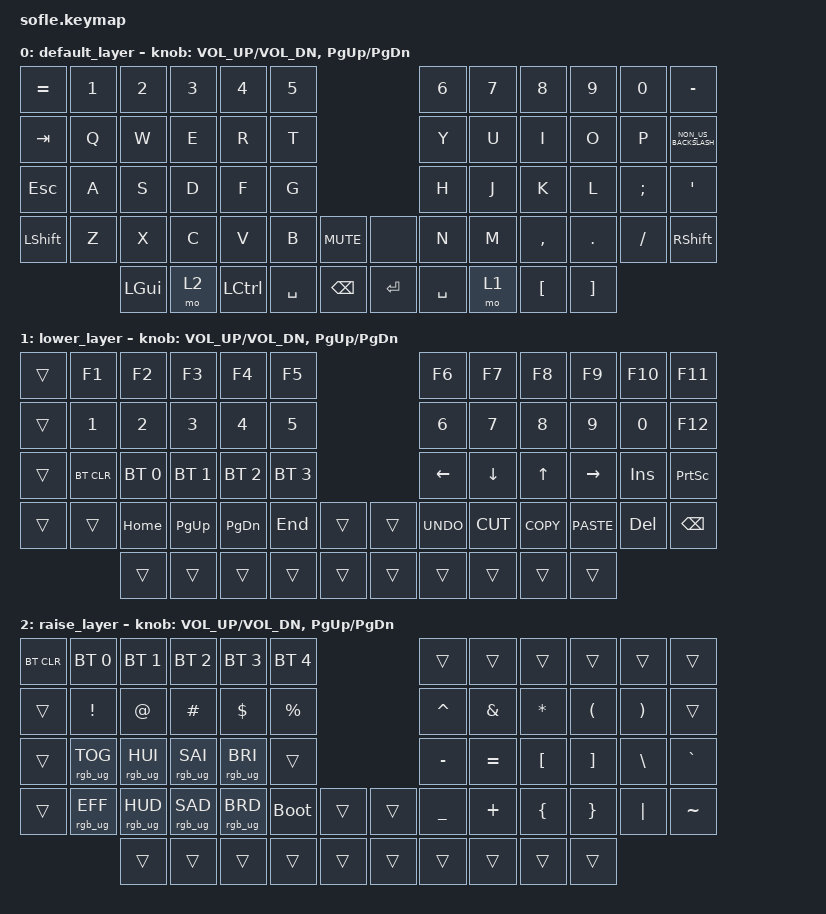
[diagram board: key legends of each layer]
/*
 * Copyright (c) 2020 The ZMK Contributors
 *
 * SPDX-License-Identifier: MIT
 */

#include <behaviors.dtsi>
#include <dt-bindings/zmk/bt.h>
#include <dt-bindings/zmk/keys.h>
#include <dt-bindings/zmk/rgb.h>

&caps_word { continue-list = <UNDERSCORE MINUS>; };

&led_strip { chain-length = <35>; };

&left_encoder { resolution = <2>; };

/ {
    keymap {
        compatible = "zmk,keymap";

        default_layer {
            // ------------------------------------------------------------------------------------------------------------
            // |  ESC  |  1  |  2  |  3   |  4   |  5   |                   |  6   |  7    |  8    |  9   |   0   | BKSPC |
            // |  TAB  |  Q  |  W  |  E   |  R   |  T   |                   |  Y   |  U    |  I    |  O   |   P   |  DEL  |
            // |  CAPS |  A  |  S  |  D   |  F   |  G   |                   |  H   |  J    |  K    |  L   |   ;   |   ' " |
            // | SHIFT |  Z  |  X  |  C   |  V   |  B   |  MUTE  |  |       |  N   |  M    |  ,<   |  .>  |   /?  | SHIFT |
            //               | GUI | ALT  | CTRL | LOWER|  ENTER |  | SPACE | RAISE| CTRL  | ALT   | GUI  |

            bindings = <
&kp EQUAL   &kp N1  &kp N2    &kp N3  &kp N4     &kp N5                                 &kp N6     &kp N7  &kp N8            &kp N9             &kp N0    &kp MINUS
&kp TAB     &kp Q   &kp W     &kp E   &kp R      &kp T                                  &kp Y      &kp U   &kp I             &kp O              &kp P     &kp NON_US_BACKSLASH
&kp ESCAPE  &kp A   &kp S     &kp D   &kp F      &kp G                                  &kp H      &kp J   &kp K             &kp L              &kp SEMI  &kp SQT
&kp LSHFT   &kp Z   &kp X     &kp C   &kp V      &kp B      &kp C_MUTE       &none      &kp N      &kp M   &kp COMMA         &kp DOT            &kp FSLH  &kp RSHFT
                    &kp LGUI  &mo 2   &kp LCTRL  &kp SPACE  &kp BACKSPACE    &kp ENTER  &kp SPACE  &mo 1   &kp LEFT_BRACKET  &kp RIGHT_BRACKET
            >;

            sensor-bindings = <&inc_dec_kp C_VOL_UP C_VOL_DN &inc_dec_kp PG_UP PG_DN>;
        };

        lower_layer {
            // TODO: Some binds are waiting for shifted keycode support.
            // ------------------------------------------------------------------------------------------------------------
            // |       |  F1 |  F2 |  F3  |  F4  |  F5  |                   |  F6  |  F7   |  F8   |   F9  |  F10  |     F11   |
            // | `     |   1 |   2 |   3  |   4  |   5  |                   |   6  |   7   |   8   |   9   |    0  |     F12   |
            // |       |BTCLR| BT1 | BT2  | BT3  | BT4  |                   | LEFT | DOWN  |  UP   | RIGHT |  INS  |PRINTSCREEN|
            // |       |     | HOME| PGUP | PGDN | END  |        |  |       | UNDO |  CUT  | COPY  | PASTE |  DEL  |    BKSP   |
            //               |     |      |      |      |        |  |       |      |       |       |       |

            bindings = <
&trans  &kp F1      &kp F2        &kp F3        &kp F4        &kp F5                          &kp F6      &kp F7     &kp F8      &kp F9       &kp F10  &kp F11
&trans  &kp N1      &kp N2        &kp N3        &kp N4        &kp N5                          &kp N6      &kp N7     &kp N8      &kp N9       &kp N0   &kp F12
&trans  &bt BT_CLR  &bt BT_SEL 0  &bt BT_SEL 1  &bt BT_SEL 2  &bt BT_SEL 3                    &kp LEFT    &kp DOWN   &kp UP      &kp RIGHT    &kp INS  &kp PSCRN
&trans  &trans      &kp HOME      &kp PG_UP     &kp PG_DN     &kp END       &trans    &trans  &kp K_UNDO  &kp K_CUT  &kp K_COPY  &kp K_PASTE  &kp DEL  &kp BSPC
                    &trans        &trans        &trans        &trans        &trans    &trans  &trans      &trans     &trans      &trans
            >;

            sensor-bindings = <&inc_dec_kp C_VOL_UP C_VOL_DN &inc_dec_kp PG_UP PG_DN>;
        };

        raise_layer {
            // ------------------------------------------------------------------------------------------------------------
            // |     |       |       |       |       |       |                |      |      |       |      |       |       |
            // |     |   !   |   @   |   #   |   $   |   %   |                |   ^  |  &   |   *   |   (  |   )   |       |
            // |     |RGB_TOG|RGB_HUI|RGB_SAI|RGB_BRI|       |                |   -  |   =  |   [   |   ]  |   \   | GRAVE |
            // |     |RGB_EFF|RGB_HUD|RGB_SAD|RGB_BRD|QK_BOOT|      |  |      |   _  |   +  |   {   |   }  |   |   |   ~   |
            //               |       |       |       |       |      |  |      |      |      |       |      |

            bindings = <
&bt BT_CLR  &bt BT_SEL 0     &bt BT_SEL 1     &bt BT_SEL 2     &bt BT_SEL 3     &bt BT_SEL 4                    &trans     &trans     &trans     &trans    &trans    &trans
&trans      &kp EXCL         &kp AT           &kp HASH         &kp DLLR         &kp PRCNT                       &kp CARET  &kp AMPS   &kp ASTRK  &kp LPAR  &kp RPAR  &trans
&trans      &rgb_ug RGB_TOG  &rgb_ug RGB_HUI  &rgb_ug RGB_SAI  &rgb_ug RGB_BRI  &trans                          &kp MINUS  &kp EQUAL  &kp LBKT   &kp RBKT  &kp BSLH  &kp GRAVE
&trans      &rgb_ug RGB_EFF  &rgb_ug RGB_HUD  &rgb_ug RGB_SAD  &rgb_ug RGB_BRD  &bootloader   &trans    &trans  &kp UNDER  &kp PLUS   &kp LBRC   &kp RBRC  &kp PIPE  &kp TILDE
                             &trans           &trans           &trans           &trans        &trans    &trans  &trans     &trans     &trans     &trans
            >;

            sensor-bindings = <&inc_dec_kp C_VOL_UP C_VOL_DN &inc_dec_kp PG_UP PG_DN>;
        };
    };
};
